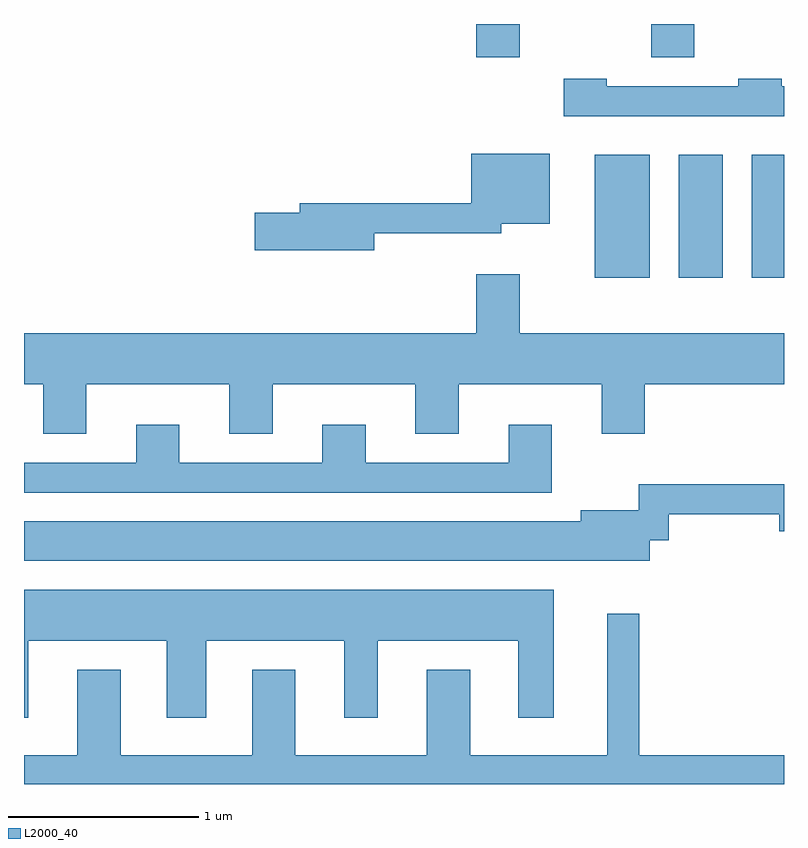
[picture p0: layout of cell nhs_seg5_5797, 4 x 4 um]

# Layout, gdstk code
import gdstk
lib = gdstk.Library(unit=1e-6, precision=1e-09)
def R(c, l, rs):  # rectangles x0, y0, x1, y1
    for r in rs: c.add(gdstk.rectangle(r[:2], r[2:], *l))
def P(c, l, *ps):  # polygons
    for p in ps: c.add(gdstk.Polygon(p, *l))
L2000_40 = (2000, 40)

nhs_seg5_5797 = lib.new_cell('nhs_seg5_5797')
R(nhs_seg5_5797, L2000_40, [(360.616,1410.736,360.904,1411.384), (361.056,1410.736,361.289,1411.384), (361.441,1410.736,361.611,1411.384), (359.991,1411.896,360.219,1412.072), (360.911,1411.896,361.139,1412.072)])
P(nhs_seg5_5797, L2000_40, [(361.611,1411.744),(361.599,1411.744),(361.599,1411.784),(361.371,1411.784),(361.371,1411.744),(360.679,1411.744),(360.679,1411.784),(360.451,1411.784),(360.451,1411.586),(361.611,1411.586)],
  [(359.454,1410.971),(360.124,1410.971),(360.124,1411.021),(360.379,1411.021),(360.379,1411.389),(359.966,1411.389),(359.966,1411.129),(359.061,1411.129),(359.061,1411.079),(358.826,1411.079),(358.826,1410.881),(359.454,1410.881)],
  [(357.611,1410.176),(357.711,1410.176),(357.711,1409.916),(357.939,1409.916),(357.939,1410.176),(358.691,1410.176),(358.691,1409.916),(358.919,1409.916),(358.919,1410.176),(359.671,1410.176),(359.671,1409.916),(359.899,1409.916),(359.899,1410.176),(360.651,1410.176),(360.651,1409.916),(360.879,1409.916),(360.879,1410.176),(361.611,1410.176),(361.611,1410.444),(360.219,1410.444),(360.219,1410.754),(359.991,1410.754),(359.991,1410.444),(357.611,1410.444)],
  [(360.389,1409.964),(360.161,1409.964),(360.161,1409.764),(359.409,1409.764),(359.409,1409.964),(359.181,1409.964),(359.181,1409.764),(358.429,1409.764),(358.429,1409.964),(358.201,1409.964),(358.201,1409.764),(357.611,1409.764),(357.611,1409.606),(360.389,1409.606)],
  [(360.904,1409.356),(361.004,1409.356),(361.004,1409.491),(361.586,1409.491),(361.586,1409.401),(361.611,1409.401),(361.611,1409.649),(360.846,1409.649),(360.846,1409.514),(360.541,1409.514),(360.541,1409.454),(357.611,1409.454),(357.611,1409.246),(360.904,1409.246)],
  [(357.634,1408.826),(358.361,1408.826),(358.361,1408.421),(358.569,1408.421),(358.569,1408.826),(359.296,1408.826),(359.296,1408.421),(359.474,1408.421),(359.474,1408.826),(360.211,1408.826),(360.211,1408.421),(360.399,1408.421),(360.399,1409.094),(357.611,1409.094),(357.611,1408.421),(357.634,1408.421)],
  [(361.611,1408.224),(360.849,1408.224),(360.849,1408.968),(360.681,1408.968),(360.681,1408.224),(359.959,1408.224),(359.959,1408.674),(359.731,1408.674),(359.731,1408.224),(359.039,1408.224),(359.039,1408.674),(358.811,1408.674),(358.811,1408.224),(358.119,1408.224),(358.119,1408.674),(357.891,1408.674),(357.891,1408.224),(357.611,1408.224),(357.611,1408.072),(361.611,1408.072)])

lib.write_gds('nhs_seg5_5797.gds')
